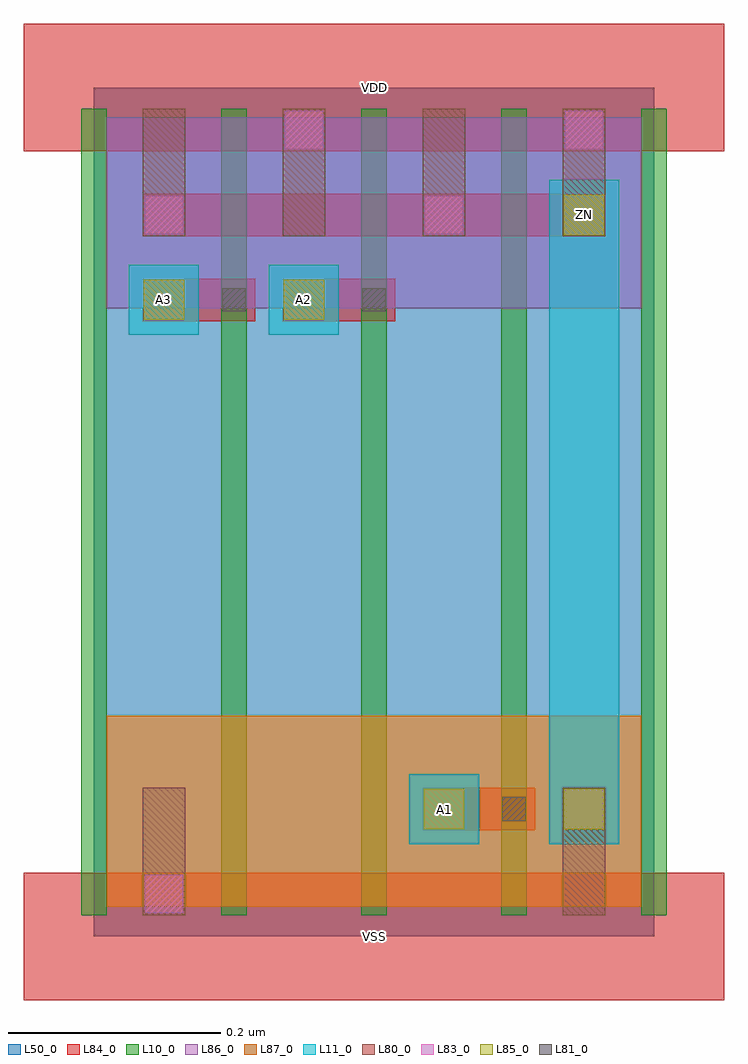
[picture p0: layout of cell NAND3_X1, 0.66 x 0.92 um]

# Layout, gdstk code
import gdstk
lib = gdstk.Library(unit=1e-6, precision=1e-09)
def R(c, l, rs):  # rectangles x0, y0, x1, y1
    for r in rs: c.add(gdstk.rectangle(r[:2], r[2:], *l))
def A(c, l, x, y, w, h, nx, ny, dx, dy):  # array of equal rectangles
    R(c, l, [(x+i*dx, y+j*dy, x+i*dx+w, y+j*dy+h) for i in range(nx) for j in range(ny)])
L10_0 = (10, 0)
L11_0 = (11, 0)
L50_0 = (50, 0)
L80_0 = (80, 0)
L81_0 = (81, 0)
L83_0 = (83, 0)
L84_0 = (84, 0)
L85_0 = (85, 0)
L86_0 = (86, 0)
L87_0 = (87, 0)

nand3_x1 = lib.new_cell('NAND3_X1')
A(nand3_x1, L10_0, -0.012, 0.02, 0.024, 0.76, 5, 1, 0.132, 0)
R(nand3_x1, L11_0, [(0.297,0.087,0.363,0.153), (0.429,0.087,0.495,0.713), (0.033,0.567,0.099,0.633), (0.165,0.567,0.231,0.633)])
R(nand3_x1, L50_0, [(0,0,0.528,0.8)])
A(nand3_x1, L80_0, 0.046, 0.66, 0.04, 0.12, 4, 1, 0.132, 0)
R(nand3_x1, L80_0, [(0.046,0.02,0.086,0.14), (0.442,0.02,0.482,0.14)])
R(nand3_x1, L81_0, [(0.385,0.109,0.407,0.131), (0.121,0.589,0.143,0.611), (0.253,0.589,0.275,0.611)])
R(nand3_x1, L83_0, [(0.048,0.022,0.084,0.058), (0.444,0.102,0.48,0.138), (0.048,0.662,0.084,0.698), (0.312,0.662,0.348,0.698), (0.18,0.742,0.216,0.778), (0.444,0.742,0.48,0.778)])
R(nand3_x1, L84_0, [(-0.066,-0.06,0.594,0.06), (0.31,0.1,0.416,0.14), (0.442,0.1,0.482,0.14), (0.046,0.58,0.152,0.62), (0.178,0.58,0.284,0.62), (0.046,0.66,0.482,0.7), (-0.066,0.74,0.594,0.86)])
R(nand3_x1, L85_0, [(0.311,0.101,0.349,0.139), (0.443,0.101,0.481,0.139), (0.047,0.581,0.085,0.619), (0.179,0.581,0.217,0.619), (0.443,0.661,0.481,0.699)])
R(nand3_x1, L86_0, [(0.012,0.592,0.516,0.772)])
R(nand3_x1, L87_0, [(0.012,0.028,0.516,0.208)])
nand3_x1.add(gdstk.Label('VDD', (0.264,0.8), layer=88, texttype=0))
nand3_x1.add(gdstk.Label('VSS', (0.264,0), layer=88, texttype=0))
nand3_x1.add(gdstk.Label('ZN', (0.462,0.68), layer=31, texttype=0))
nand3_x1.add(gdstk.Label('A1', (0.33,0.12), layer=31, texttype=0))
nand3_x1.add(gdstk.Label('A2', (0.198,0.6), layer=31, texttype=0))
nand3_x1.add(gdstk.Label('A3', (0.066,0.6), layer=31, texttype=0))

lib.write_gds('NAND3_X1.gds')
